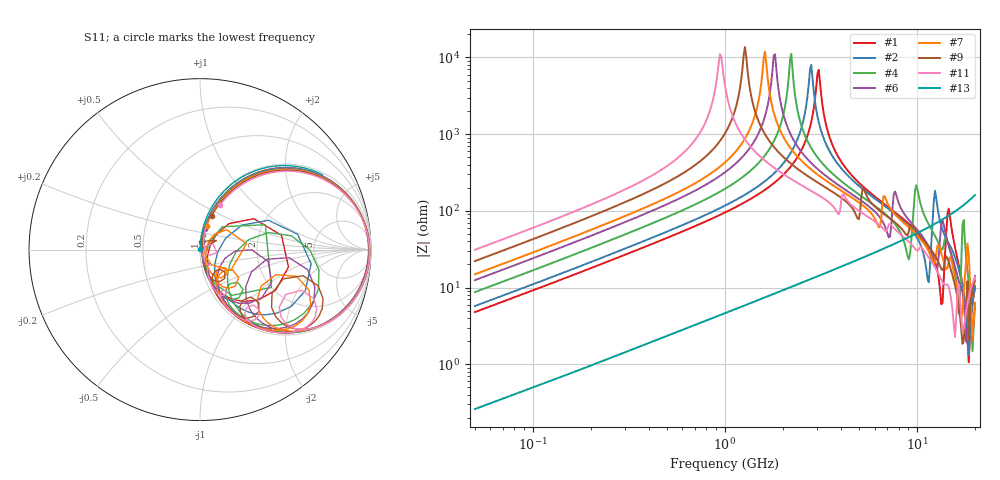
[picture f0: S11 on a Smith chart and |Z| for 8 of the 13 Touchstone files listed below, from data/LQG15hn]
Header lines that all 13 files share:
!These Parameters are Measured in Series Mode Connection
!  o--[Z]--o
!Port1  Port2
!  o-------o
!Freq. Start=50[MHz] Stop=20[GHz], 401[Steps]
# Hz S RI R 50
!Freq.(Hz) S11(Real) S11(Imag) S21(Real) S21(Imag) S12(Real) S12(Imag) S22(Real) S22(Imag)
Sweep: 50 MHz to 20 GHz
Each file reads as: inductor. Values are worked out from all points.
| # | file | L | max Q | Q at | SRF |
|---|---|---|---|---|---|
| 1 | LQG15HN15NJ02.s2p | 14.9 nH | 24.7 | 1.162 GHz | 3.03 GHz |
| 2 | LQG15HN18NG02.s2p | 17.9 nH | 23.5 | 1.094 GHz | 2.769 GHz |
| 3 | LQG15HN22NG02.s2p | 22 nH | 21.9 | 985.1 MHz | 2.494 GHz |
| 4 | LQG15HN27NG02.s2p | 27.2 nH | 19.9 | 970.5 MHz | 2.179 GHz |
| 5 | LQG15HN33NG02.s2p | 32.9 nH | 19.4 | 823.1 MHz | 1.962 GHz |
| 6 | LQG15HN39NG02.s2p | 38.9 nH | 18.5 | 763.7 MHz | 1.793 GHz |
| 7 | LQG15HN47NG02.s2p | 46.3 nH | 17.3 | 647.7 MHz | 1.591 GHz |
| 8 | LQG15HN56NG02.s2p | 56.9 nH | 15.8 | 549.3 MHz | 1.433 GHz |
| 9 | LQG15HN68NG02.s2p | 68.9 nH | 15.1 | 480 MHz | 1.252 GHz |
| 10 | LQG15HN82NG02.s2p | 81.1 nH | 14.2 | 383.4 MHz | 1.062 GHz |
| 11 | LQG15HNR10G02.s2p | 96.3 nH | 12.9 | 325.2 MHz | 941.8 MHz |
| 12 | LQG15HNR12G02.s2p | 118 nH | 12.6 | 284.2 MHz | 823.1 MHz |
| 13 | LQP02HQ0N6B02_series.s2p | 808 pH | 95.8 | 6.802 GHz | - |
